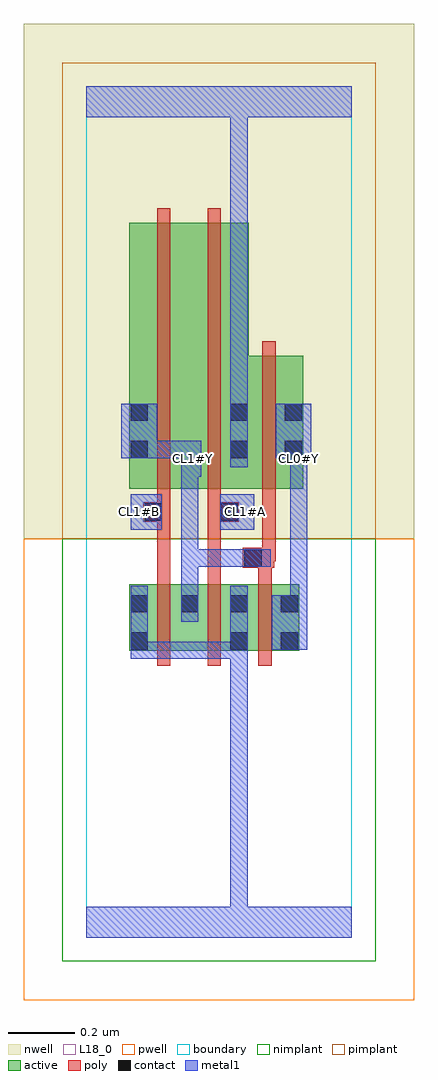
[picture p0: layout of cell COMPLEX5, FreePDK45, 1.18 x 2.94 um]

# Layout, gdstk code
import gdstk
lib = gdstk.Library(unit=1e-6, precision=1e-09)
def R(c, l, rs):  # rectangles x0, y0, x1, y1
    for r in rs: c.add(gdstk.rectangle(r[:2], r[2:], *l))
def A(c, l, x, y, w, h, nx, ny, dx, dy):  # array of equal rectangles
    R(c, l, [(x+i*dx, y+j*dy, x+i*dx+w, y+j*dy+h) for i in range(nx) for j in range(ny)])
active = (1, 0)
pwell = (2, 0)
nwell = (3, 0)
nimplant = (4, 0)
pimplant = (5, 0)
poly = (9, 0)
contact = (10, 0)
metal1 = (11, 0)
L18_0 = (18, 0)
boundary = (235, 0)

complex5 = lib.new_cell('COMPLEX5')
R(complex5, active, [(0.13,0.862,0.19,1.062), (0.13,0.862,0.342,1.062), (0.282,0.862,0.49,1.062), (0.43,0.862,0.49,1.062), (0.43,0.862,0.642,1.062), (0.582,0.862,0.642,1.062), (0.282,0.956,0.342,1.062), (0.13,1.35,0.31,2.15), (0.13,1.35,0.19,2.044), (0.31,1.35,0.49,2.15), (0.43,1.35,0.49,1.644), (0.43,1.35,0.654,1.75), (0.594,1.35,0.654,1.644)])
R(complex5, pwell, [(-0.188,-0.188,0.988,1.2)])
R(complex5, nwell, [(-0.188,1.2,0.988,2.748)])
R(complex5, nimplant, [(-0.072,-0.072,0.872,1.2)])
R(complex5, pimplant, [(-0.072,1.2,0.872,2.632)])
A(complex5, poly, 0.214, 0.818, 0.04, 0.288, 3, 1, 0.152, 0)
R(complex5, poly, [(0.214,1.066,0.254,1.29), (0.366,1.066,0.406,1.29), (0.518,1.066,0.558,1.152), (0.472,1.112,0.566,1.172), (0.526,1.132,0.566,1.172), (0.526,1.132,0.57,1.172), (0.53,1.132,0.57,1.346), (0.172,1.25,0.254,1.31), (0.366,1.25,0.406,1.29), (0.366,1.25,0.406,1.29), (0.366,1.25,0.46,1.31), (0.214,1.27,0.254,1.31), (0.214,1.27,0.254,1.31), (0.214,1.27,0.254,1.346), (0.366,1.27,0.406,1.346), (0.214,1.306,0.254,2.194), (0.366,1.306,0.406,2.194), (0.53,1.306,0.57,1.794)])
R(complex5, contact, [(0.134,0.866,0.186,0.918), (0.434,0.866,0.486,0.918), (0.586,0.866,0.638,0.918), (0.134,0.978,0.186,1.03), (0.286,0.978,0.338,1.03), (0.434,0.978,0.486,1.03), (0.586,0.978,0.638,1.03), (0.476,1.116,0.528,1.168), (0.176,1.254,0.228,1.306), (0.404,1.254,0.456,1.306), (0.134,1.442,0.186,1.494), (0.434,1.442,0.486,1.494), (0.598,1.442,0.65,1.494), (0.134,1.554,0.186,1.606), (0.434,1.554,0.486,1.606), (0.598,1.554,0.65,1.606)])
R(complex5, metal1, [(0,0,0.8,0.092), (0.434,0.04,0.486,0.89), (0.134,0.838,0.186,0.89), (0.134,0.838,0.186,0.89), (0.134,0.838,0.186,1.058), (0.134,0.838,0.338,0.89), (0.286,0.838,0.338,0.89), (0.286,0.838,0.338,0.89), (0.286,0.838,0.338,0.89), (0.286,0.838,0.486,0.89), (0.434,0.838,0.486,0.89), (0.434,0.838,0.486,0.89), (0.434,0.838,0.486,0.89), (0.434,0.838,0.486,0.89), (0.434,0.838,0.486,0.89), (0.434,0.838,0.486,0.89), (0.434,0.838,0.486,0.89), (0.434,0.838,0.486,0.89), (0.434,0.838,0.486,0.89), (0.434,0.838,0.486,0.89), (0.434,0.838,0.486,0.89), (0.434,0.838,0.486,0.89), (0.434,0.838,0.486,0.89), (0.434,0.838,0.486,0.89), (0.434,0.838,0.486,0.89), (0.434,0.838,0.486,0.89), (0.434,0.838,0.486,1.058), (0.558,0.866,0.666,1.03), (0.286,0.95,0.338,1.058), (0.614,0.978,0.666,1.438), (0.286,1.006,0.338,1.168), (0.286,1.116,0.338,1.168), (0.286,1.116,0.338,1.168), (0.286,1.116,0.338,1.168), (0.286,1.116,0.5,1.168), (0.286,1.116,0.338,1.438), (0.448,1.116,0.5,1.168), (0.448,1.116,0.5,1.168), (0.448,1.116,0.556,1.168), (0.134,1.226,0.228,1.334), (0.404,1.226,0.506,1.334), (0.286,1.386,0.346,1.494), (0.614,1.386,0.666,1.494), (0.434,1.414,0.486,1.634), (0.106,1.442,0.214,1.606), (0.162,1.442,0.214,1.494), (0.162,1.442,0.214,1.494), (0.162,1.442,0.214,1.494), (0.162,1.442,0.214,1.494), (0.162,1.442,0.338,1.494), (0.57,1.442,0.678,1.606), (0.614,1.442,0.666,1.494), (0.614,1.442,0.666,1.494), (0.614,1.442,0.666,1.494), (0.434,1.582,0.486,1.634), (0.434,1.582,0.486,1.634), (0.434,1.582,0.486,2.52), (0,2.468,0.8,2.56), (0.434,2.468,0.486,2.52), (0.434,2.468,0.486,2.52), (0.434,2.468,0.486,2.52), (0.434,2.468,0.486,2.52), (0.434,2.468,0.486,2.52), (0.434,2.468,0.486,2.52)])
R(complex5, L18_0, [(0,0,0.8,0.092), (0.434,0.04,0.486,0.89), (0.134,0.838,0.186,1.058), (0.134,0.838,0.186,0.89), (0.134,0.838,0.186,0.89), (0.134,0.838,0.338,0.89), (0.286,0.838,0.338,0.89), (0.286,0.838,0.338,0.89), (0.286,0.838,0.338,0.89), (0.286,0.838,0.486,0.89), (0.434,0.838,0.486,1.058), (0.434,0.838,0.486,0.89), (0.434,0.838,0.486,0.89), (0.434,0.838,0.486,0.89), (0.434,0.838,0.486,0.89), (0.434,0.838,0.486,0.89), (0.434,0.838,0.486,0.89), (0.434,0.838,0.486,0.89), (0.434,0.838,0.486,0.89), (0.434,0.838,0.486,0.89), (0.434,0.838,0.486,0.89), (0.434,0.838,0.486,0.89), (0.434,0.838,0.486,0.89), (0.434,0.838,0.486,0.89), (0.434,0.838,0.486,0.89), (0.434,0.838,0.486,0.89), (0.434,0.838,0.486,0.89), (0.558,0.866,0.666,1.03), (0.286,0.95,0.338,1.058), (0.614,0.978,0.666,1.438), (0.286,1.006,0.338,1.168), (0.286,1.116,0.338,1.168), (0.286,1.116,0.338,1.168), (0.286,1.116,0.338,1.168), (0.286,1.116,0.338,1.438), (0.286,1.116,0.5,1.168), (0.448,1.116,0.5,1.168), (0.448,1.116,0.5,1.168), (0.448,1.116,0.556,1.168), (0.134,1.226,0.228,1.334), (0.404,1.226,0.506,1.334), (0.134,1.254,0.186,1.306), (0.454,1.254,0.506,1.306), (0.286,1.386,0.346,1.494), (0.614,1.386,0.666,1.494), (0.294,1.414,0.346,1.466), (0.434,1.414,0.486,1.634), (0.614,1.414,0.666,1.466), (0.106,1.442,0.214,1.606), (0.162,1.442,0.214,1.494), (0.162,1.442,0.214,1.494), (0.162,1.442,0.214,1.494), (0.162,1.442,0.214,1.494), (0.162,1.442,0.338,1.494), (0.57,1.442,0.678,1.606), (0.614,1.442,0.666,1.494), (0.614,1.442,0.666,1.494), (0.614,1.442,0.666,1.494), (0.434,1.582,0.486,1.634), (0.434,1.582,0.486,1.634), (0.434,1.582,0.486,2.52), (0,2.468,0.8,2.56), (0.434,2.468,0.486,2.52), (0.434,2.468,0.486,2.52), (0.434,2.468,0.486,2.52), (0.434,2.468,0.486,2.52), (0.434,2.468,0.486,2.52), (0.434,2.468,0.486,2.52)])
R(complex5, boundary, [(0,0,0.8,2.56)])
complex5.add(gdstk.Label('CL0#Y', (0.64,1.44), layer=11, texttype=0))
complex5.add(gdstk.Label('CL1#A', (0.48,1.28), layer=11, texttype=0))
complex5.add(gdstk.Label('CL1#B', (0.16,1.28), layer=11, texttype=0))
complex5.add(gdstk.Label('CL1#Y', (0.32,1.44), layer=11, texttype=0))

lib.write_gds('COMPLEX5.gds')
